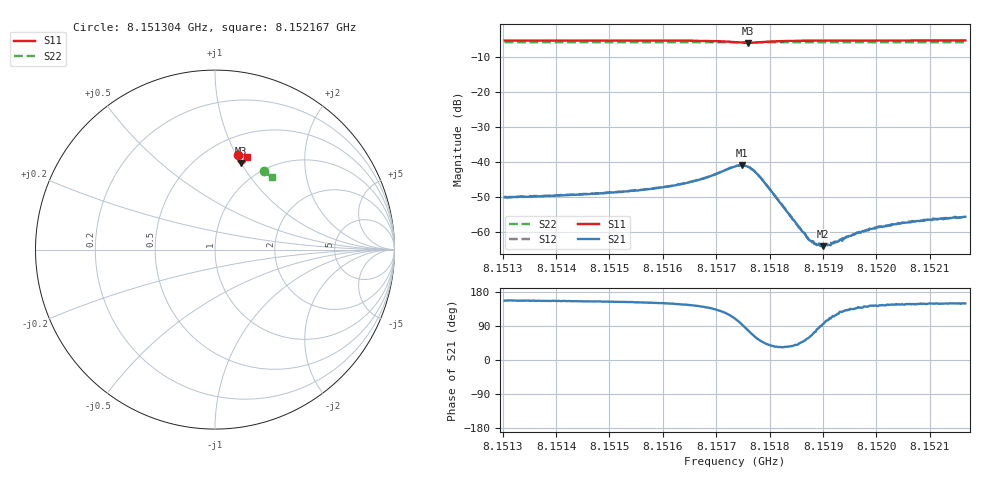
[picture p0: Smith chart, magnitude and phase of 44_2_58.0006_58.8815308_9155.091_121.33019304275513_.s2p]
#  HZ  S  RI  R  50.00
! Rohde & Schwarz Vector Network Analyzer
! Rohde-Schwarz,ZNB20-2Port,1311601062101988,3.16
! Created: UTC 3/21/2024, 12:52:13 AM
! freq[Hz]  re:S11  im:S11  re:S21  im:S21  re:S12  im:S12  re:S22  im:S22
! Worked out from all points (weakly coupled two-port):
!   401 points, 8.151304 GHz to 8.152167 GHz, reference 50 ohm
!   highest |S21| = -40.86 dB at 8.151748 GHz (marker M1); lowest = -63.9 dB at 8.151899 GHz (marker M2)
!   lowest |S11| = -6.0 dB at 8.151759 GHz (marker M3), VSWR 3.02, Z = 38.7 + j49.9 ohm
!   |S11| at or under -10 dB: nowhere
!   |S22| runs from -5.8 to -5.8 dB; largest |S21 - S12| = 0.00017
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8.1513037e9  0.1273 0.5285  -0.0029 0.00126  -0.00293 0.0013  0.2705 0.4371
8.1514482e9  0.1387 0.5256  -0.00315 0.00146  -0.00315 0.0015  0.2783 0.4319
8.1515237e9  0.1452 0.5237  -0.00337 0.0017  -0.00336 0.00177  0.2823 0.4291
8.1515927e9  0.1522 0.5208  -0.00375 0.00215  -0.00376 0.00222  0.286 0.4267
8.1516682e9  0.162 0.5138  -0.00445 0.00344  -0.00442 0.00356  0.2901 0.4234
8.1517351e9  0.1638 0.4881  -0.00287 0.00823  -0.00278 0.0083  0.2931 0.4201
8.1517481e9  0.1545 0.4816  -0.00063 0.00903  -0.000525 0.0091  0.2932 0.4196
8.1517588e9  0.1437 0.4816  0.00163 0.00851  0.00175 0.00854  0.2935 0.4193
8.1517696e9  0.1349 0.4876  0.00326 0.00692  0.00336 0.00694  0.2939 0.4193
8.1517826e9  0.1308 0.4976  0.00381 0.00471  0.00388 0.0047  0.2944 0.4192
8.1518537e9  0.1457 0.5181  0.000907 0.000828  0.000897 0.000787  0.2988 0.4171
8.151871e9  0.1489 0.5188  0.000449 0.000686  0.000472 0.000704  0.2999 0.4164
8.1518796e9  0.1504 0.519  0.000288 0.000672  0.000308 0.000653  0.3003 0.4163
8.1518883e9  0.1516 0.5191  0.000106 0.000649  0.000144 0.000647  0.3007 0.4157
8.151899e9  0.1533 0.5192  -5.03e-05 0.000633  -2.53e-05 0.000639  0.3015 0.4153
8.1519098e9  0.1547 0.5193  -0.000178 0.00064  -0.000179 0.000631  0.302 0.415
8.1519228e9  0.1562 0.5191  -0.000349 0.000653  -0.000323 0.000644  0.3027 0.4146
8.1519638e9  0.1609 0.5186  -0.000732 0.000676  -0.000701 0.00068  0.3048 0.4128
8.1520004e9  0.1645 0.5181  -0.000938 0.000708  -0.000943 0.00073  0.3067 0.4113
8.1520242e9  0.1666 0.5176  -0.00103 0.000711  -0.001 0.000777  0.308 0.4104
8.1520651e9  0.17 0.5168  -0.00117 0.000768  -0.00122 0.000777  0.31 0.4087
8.1521665e9  0.178 0.5146  -0.00144 0.00085  -0.00145 0.000879  0.3153 0.4047
